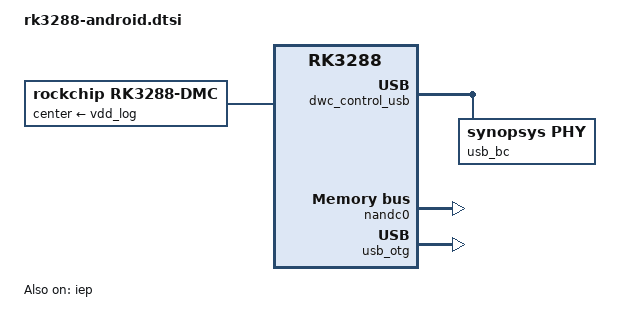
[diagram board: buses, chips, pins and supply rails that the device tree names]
/*
 * Copyright (c) 2017 Fuzhou Rockchip Electronics Co., Ltd
 *
 * This file is dual-licensed: you can use it either under the terms
 * of the GPL or the X11 license, at your option. Note that this dual
 * licensing only applies to this file, and not this project as a
 * whole.
 *
 *  a) This file is free software; you can redistribute it and/or
 *     modify it under the terms of the GNU General Public License as
 *     published by the Free Software Foundation; either version 2 of the
 *     License, or (at your option) any later version.
 *
 *     This file is distributed in the hope that it will be useful,
 *     but WITHOUT ANY WARRANTY; without even the implied warranty of
 *     MERCHANTABILITY or FITNESS FOR A PARTICULAR PURPOSE.  See the
 *     GNU General Public License for more details.
 *
 * Or, alternatively,
 *
 *  b) Permission is hereby granted, free of charge, to any person
 *     obtaining a copy of this software and associated documentation
 *     files (the "Software"), to deal in the Software without
 *     restriction, including without limitation the rights to use,
 *     copy, modify, merge, publish, distribute, sublicense, and/or
 *     sell copies of the Software, and to permit persons to whom the
 *     Software is furnished to do so, subject to the following
 *     conditions:
 *
 *     The above copyright notice and this permission notice shall be
 *     included in all copies or substantial portions of the Software.
 *
 *     THE SOFTWARE IS PROVIDED "AS IS", WITHOUT WARRANTY OF ANY KIND,
 *     EXPRESS OR IMPLIED, INCLUDING BUT NOT LIMITED TO THE WARRANTIES
 *     OF MERCHANTABILITY, FITNESS FOR A PARTICULAR PURPOSE AND
 *     NONINFRINGEMENT. IN NO EVENT SHALL THE AUTHORS OR COPYRIGHT
 *     HOLDERS BE LIABLE FOR ANY CLAIM, DAMAGES OR OTHER LIABILITY,
 *     WHETHER IN AN ACTION OF CONTRACT, TORT OR OTHERWISE, ARISING
 *     FROM, OUT OF OR IN CONNECTION WITH THE SOFTWARE OR THE USE OR
 *     OTHER DEALINGS IN THE SOFTWARE.
 */
#include <dt-bindings/pwm/pwm.h>
#include <dt-bindings/input/input.h>
#include <dt-bindings/soc/rockchip-system-status.h>
#include "rk3288-dram-default-timing.dtsi"
#include <dt-bindings/display/media-bus-format.h>

/ {
	firmware {
		android {
			compatible = "android,firmware";
			fstab {
				compatible = "android,fstab";
				system {
					compatible = "android,system";
					dev = "/dev/block/by-name/system";
					type = "ext4";
					mnt_flags = "rw,barrier=1,inode_readahead_blks=8";
					fsmgr_flags = "wait";
				};
				vendor {
					compatible = "android,vendor";
					dev = "/dev/block/by-name/vendor";
					type = "ext4";
					mnt_flags = "rw,barrier=1,inode_readahead_blks=8";
					fsmgr_flags = "wait";
				};
			};
		};
	};
	chosen {
		bootargs = "earlycon=uart8250,mmio32,0xff690000 vmalloc=496M";
	};

	cpuinfo {
		compatible = "rockchip,cpuinfo";
		nvmem-cells = <&efuse_id>;
		nvmem-cell-names = "id";
	};

	/delete-node/ dmc@ff610000;

	dfi: dfi {
		compatible = "rockchip,rk3288-dfi";
		rockchip,pmu = <&pmu>;
		rockchip,grf = <&grf>;
		status = "disabled";
	};

	dmc: dmc {
		compatible = "rockchip,rk3288-dmc";
		devfreq-events = <&dfi>;
		clocks = <&cru SCLK_DDRCLK>, <&cru PCLK_PUBL0>,
			 <&cru PCLK_DDRUPCTL0>, <&cru PCLK_PUBL1>,
			 <&cru PCLK_DDRUPCTL1>;
		clock-names = "dmc_clk", "pclk_phy0", "pclk_upctl0",
			      "pclk_phy1", "pclk_upctl1";
		upthreshold = <55>;
		downdifferential = <10>;
		operating-points-v2 = <&dmc_opp_table>;
		vop-dclk-mode = <0>;
		min-cpu-freq = <600000>;
		rockchip,ddr_timing = <&ddr_timing>;
		system-status-freq = <
			/*system status		freq(KHz)*/
			SYS_STATUS_NORMAL	396000
			SYS_STATUS_REBOOT	396000
			SYS_STATUS_SUSPEND	192000
			SYS_STATUS_VIDEO_1080P	300000
			SYS_STATUS_VIDEO_4K	396000
			SYS_STATUS_VIDEO_4K_10B	528000
			SYS_STATUS_PERFORMANCE	528000
			SYS_STATUS_BOOST	396000
			SYS_STATUS_DUALVIEW	396000
			SYS_STATUS_ISP		396000
		>;
		auto-min-freq = <396000>;
		auto-freq-en = <0>;
		status = "diasbled";
	};

	dmc_opp_table: opp_table2 {
		compatible = "operating-points-v2";

		opp-192000000 {
			opp-hz = /bits/ 64 <192000000>;
			opp-microvolt = <1100000>;
		};
		opp-300000000 {
			opp-hz = /bits/ 64 <300000000>;
			opp-microvolt = <1100000>;
		};
		opp-396000000 {
			opp-hz = /bits/ 64 <396000000>;
			opp-microvolt = <1100000>;
		};
		opp-528000000 {
			opp-hz = /bits/ 64 <528000000>;
			opp-microvolt = <1150000>;
		};
	};

	reserved-memory {
		ramoops_mem: ramoops@00000000 {
			reg = <0x0 0x8000000 0x0 0xF0000>;
		};

		drm_logo: drm-logo@00000000 {
		compatible = "rockchip,drm-logo";
			reg = <0x0 0x0 0x0 0x0>;
		};
	};

	ramoops {
		compatible = "ramoops";
		record-size = <0x0 0x20000>;
		console-size = <0x0 0x80000>;
		ftrace-size = <0x0 0x00000>;
		pmsg-size = <0x0 0x50000>;
		memory-region = <&ramoops_mem>;
	};


	psci {
		compatible = "arm,psci-1.0";
		method = "smc";
	};

	/delete-node/ timer@ff810000;

	dwc_control_usb: dwc-control-usb@ff770284 {
		compatible = "rockchip,rk3288-dwc-control-usb";
		status = "okay";
		reg = <0x0 0xff770284 0x0 0x04>, <0x0 0xff770288 0x0 0x04>,
		      <0x0 0xff7702cc 0x0 0x04>, <0x0 0xff7702d4 0x0 0x04>,
		      <0x0 0xff770320 0x0 0x14>, <0x0 0xff770334 0x0 0x14>,
		      <0x0 0xff770348 0x0 0x10>, <0x0 0xff770358 0x0 0x08>,
		      <0x0 0xff770360 0x0 0x08>;
		reg-names = "GRF_SOC_STATUS1" ,"GRF_SOC_STATUS2",
			    "GRF_SOC_STATUS19", "GRF_SOC_STATUS21",
			    "GRF_UOC0_BASE", "GRF_UOC1_BASE",
			    "GRF_UOC2_BASE", "GRF_UOC3_BASE",
			    "GRF_UOC4_BASE";
		interrupts = <GIC_SPI 93 IRQ_TYPE_LEVEL_HIGH>,
			     <GIC_SPI 94 IRQ_TYPE_LEVEL_HIGH>,
			     <GIC_SPI 95 IRQ_TYPE_LEVEL_HIGH>,
			     <GIC_SPI 96 IRQ_TYPE_LEVEL_HIGH>,
			     <GIC_SPI 97 IRQ_TYPE_LEVEL_HIGH>;
		interrupt-names = "otg_id", "otg_bvalid",
				  "otg_linestate", "host0_linestate",
				  "host1_linestate";
		clocks = <&cru HCLK_USB_PERI>;
		clock-names = "hclk_usb_peri";

		otg_drv_gpio = <&gpio0 12 GPIO_ACTIVE_HIGH>;
		rockchip,remote_wakeup;
		rockchip,usb_irq_wakeup;

		usb_bc {
			compatible = "synopsys,phy";
			rk_usb,bvalid     = <0x288 14 1>;
			rk_usb,iddig      = <0x288 17 1>;
			rk_usb,dcdenb     = <0x328 14 1>;
			rk_usb,vdatsrcenb = <0x328  7 1>;
			rk_usb,vdatdetenb = <0x328  6 1>;
			rk_usb,chrgsel    = <0x328  5 1>;
			rk_usb,chgdet     = <0x2cc 23 1>;
			rk_usb,fsvminus   = <0x2cc 25 1>;
			rk_usb,fsvplus    = <0x2cc 24 1>;
		};
	};

	nandc0: nandc@ff400000 {
		compatible = "rockchip,rk-nandc";
		reg = <0x0 0xff400000 0x0 0x4000>;
		interrupts = <GIC_SPI 38 IRQ_TYPE_LEVEL_HIGH>;
		nandc_id = <0>;
		clocks = <&cru SCLK_NANDC0>, <&cru HCLK_NANDC0>;
		clock-names = "clk_nandc", "hclk_nandc";
		status = "okay";
	};
};

&dfi {
	status = "okay";
};

&dmc {
	center-supply = <&vdd_log>;
	status = "okay";
};
&cpu0 {
	enable-method = "psci";
	cpu0-supply = <&vdd_cpu>;
};

&cpu0_opp_table {
	rockchip,avs-enable = <1>;
	opp-1800000000 {
		opp-hz = /bits/ 64 <1800000000>;
		opp-microvolt = <1350000 1350000 1350000>;
		opp-microvolt-L0 = <1350000 1350000 1350000>;
		opp-microvolt-L1 = <1350000 1350000 1350000>;
		opp-microvolt-L2 = <1350000 1350000 1350000>;
		opp-microvolt-L3 = <1350000 1350000 1350000>;
		clock-latency-ns = <40000>;
		status = "disabled";
	};
};

&cpu1 {
	enable-method = "psci";
};

&cpu2 {
	enable-method = "psci";
};

&cpu3 {
	enable-method = "psci";
};

&dmac_bus_s {
	// change to non-secure dmac
	reg = <0x0 0xff600000 0x0 0x4000>;
};

&efuse {
	compatible = "rockchip,rk3288-secure-efuse";
};

&iep {
	status = "okay";
};

&iep_mmu {
	status = "okay";
};

&rga {
	compatible = "rockchip,rga2";
	clocks = <&cru ACLK_RGA>, <&cru HCLK_RGA>, <&cru SCLK_RGA>;
	clock-names = "aclk_rga", "hclk_rga", "clk_rga";
	dma-coherent;
};

&usb_otg {
	compatible = "rockchip,rk3288_usb20_otg";
	clocks = <&usbphy0>, <&cru HCLK_OTG0>;
	clock-names = "clk_usbphy0", "hclk_usb0";
	resets = <&cru SRST_USBOTG_AHB>,
		 <&cru SRST_USBOTG_PHY>,
		 <&cru SRST_USBOTG_CON>;
	reset-names = "otg_ahb", "otg_phy", "otg_controller";
	/*0 - Normal, 1 - Force Host, 2 - Force Device*/
	rockchip,usb-mode = <0>;
};

&usb_otg {
	status = "okay";
};
